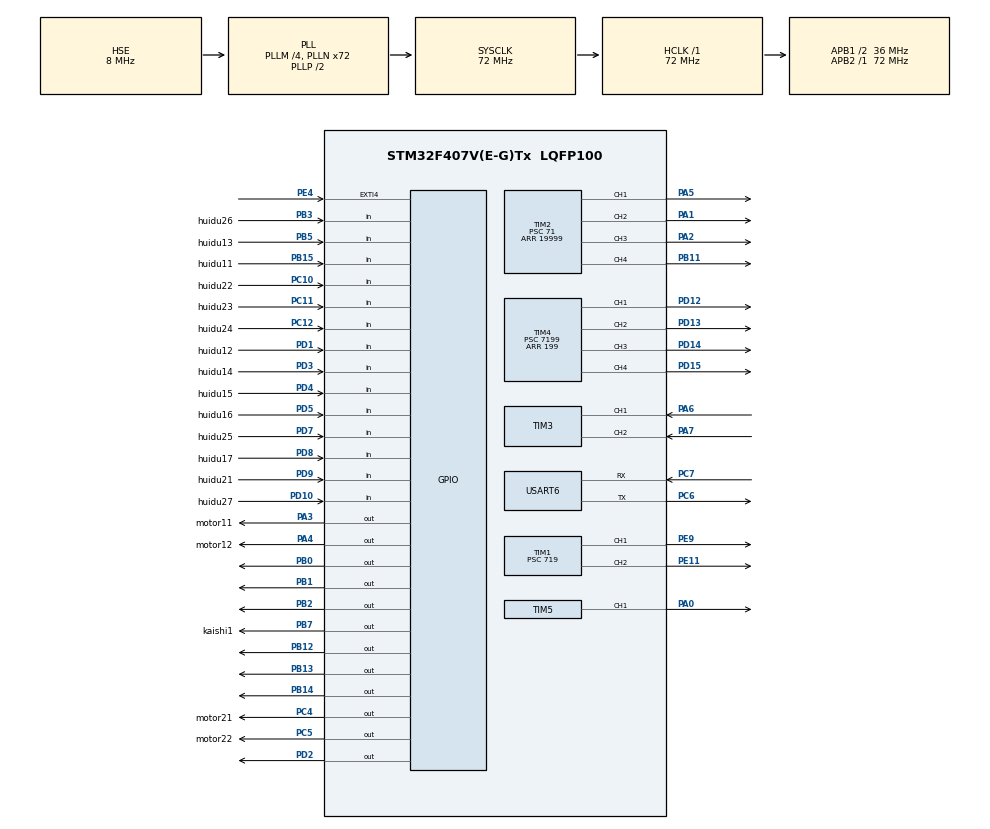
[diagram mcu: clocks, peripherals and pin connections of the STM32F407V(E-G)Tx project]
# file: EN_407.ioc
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Dma.Request0=USART6_RX
Dma.Request1=USART6_TX
Dma.USART6_RX.0.Direction=DMA_PERIPH_TO_MEMORY
Dma.USART6_RX.0.FIFOMode=DMA_FIFOMODE_DISABLE
Dma.USART6_RX.0.Instance=DMA2_Stream1
Dma.USART6_RX.0.MemDataAlignment=DMA_MDATAALIGN_BYTE
Dma.USART6_RX.0.MemInc=DMA_MINC_ENABLE
Dma.USART6_RX.0.Mode=DMA_CIRCULAR
Dma.USART6_RX.0.PeriphDataAlignment=DMA_PDATAALIGN_BYTE
Dma.USART6_RX.0.PeriphInc=DMA_PINC_DISABLE
Dma.USART6_RX.0.Priority=DMA_PRIORITY_MEDIUM
Dma.USART6_TX.1.Direction=DMA_MEMORY_TO_PERIPH
Dma.USART6_TX.1.FIFOMode=DMA_FIFOMODE_DISABLE
Dma.USART6_TX.1.Instance=DMA2_Stream6
Dma.USART6_TX.1.MemDataAlignment=DMA_MDATAALIGN_BYTE
Dma.USART6_TX.1.MemInc=DMA_MINC_ENABLE
Dma.USART6_TX.1.Mode=DMA_NORMAL
Dma.USART6_TX.1.PeriphDataAlignment=DMA_PDATAALIGN_BYTE
Dma.USART6_TX.1.PeriphInc=DMA_PINC_DISABLE
Dma.USART6_TX.1.Priority=DMA_PRIORITY_MEDIUM
Mcu.Family=STM32F4
Mcu.Name=STM32F407V(E-G)Tx
Mcu.Package=LQFP100
NVIC.DMA2_Stream1_IRQn=true\:0\:0\:false\:false\:true\:false\:true\:true
NVIC.DMA2_Stream6_IRQn=true\:0\:0\:false\:false\:true\:false\:true\:true
NVIC.PriorityGroup=NVIC_PRIORITYGROUP_4
NVIC.TIM3_IRQn=true\:0\:0\:false\:false\:true\:true\:true\:true
NVIC.TIM4_IRQn=true\:0\:0\:false\:false\:true\:true\:true\:true
NVIC.TIM5_IRQn=true\:0\:0\:false\:false\:true\:true\:true\:true
NVIC.TIM6_DAC_IRQn=true\:1\:0\:true\:false\:true\:true\:true\:true
NVIC.USART6_IRQn=true\:2\:0\:true\:false\:true\:true\:true\:true
PA0-WKUP.GPIO_Speed=GPIO_SPEED_FREQ_HIGH
PA0-WKUP.Signal=S_TIM5_CH1
PA1.GPIO_Speed=GPIO_SPEED_FREQ_HIGH
PA1.Signal=S_TIM2_CH2
PA13.Mode=Serial_Wire
PA13.Signal=SYS_JTMS-SWDIO
PA14.Mode=Serial_Wire
PA14.Signal=SYS_JTCK-SWCLK
PA2.Signal=S_TIM2_CH3
PA3.GPIO_Label=motor11
PA3.GPIO_PuPd=GPIO_PULLDOWN
PA3.GPIO_Speed=GPIO_SPEED_FREQ_HIGH
PA3.Signal=GPIO_Output
PA4.GPIO_Label=motor12
PA4.GPIO_PuPd=GPIO_PULLDOWN
PA4.GPIO_Speed=GPIO_SPEED_FREQ_HIGH
PA4.Signal=GPIO_Output
PA5.Signal=S_TIM2_CH1_ETR
PA6.Signal=S_TIM3_CH1
PA7.Signal=S_TIM3_CH2
PB0.GPIO_ModeDefaultOutputPP=GPIO_MODE_OUTPUT_PP
PB0.GPIO_PuPd=GPIO_PULLDOWN
PB0.GPIO_Speed=GPIO_SPEED_FREQ_HIGH
PB0.Signal=GPIO_Output
PB1.GPIO_PuPd=GPIO_PULLDOWN
PB1.GPIO_Speed=GPIO_SPEED_FREQ_HIGH
PB1.Signal=GPIO_Output
PB11.Signal=S_TIM2_CH4
PB12.Signal=GPIO_Output
PB13.Signal=GPIO_Output
PB14.Signal=GPIO_Output
PB15.GPIO_Label=huidu11
PB15.Signal=GPIO_Input
PB2.GPIO_ModeDefaultOutputPP=GPIO_MODE_OUTPUT_PP
PB2.GPIO_PuPd=GPIO_PULLDOWN
PB2.GPIO_Speed=GPIO_SPEED_FREQ_HIGH
PB2.Signal=GPIO_Output
PB3.GPIO_Label=huidu26
PB3.Signal=GPIO_Input
PB5.GPIO_Label=huidu13
PB5.Signal=GPIO_Input
PB7.GPIO_Label=kaishi1
PB7.Signal=GPIO_Output
PC10.GPIO_Label=huidu22
PC10.Signal=GPIO_Input
PC11.GPIO_Label=huidu23
PC11.Signal=GPIO_Input
PC12.GPIO_Label=huidu24
PC12.Signal=GPIO_Input
PC4.GPIO_Label=motor21
PC4.GPIO_PuPd=GPIO_PULLDOWN
PC4.GPIO_Speed=GPIO_SPEED_FREQ_HIGH
PC4.Signal=GPIO_Output
PC5.GPIO_Label=motor22
PC5.GPIO_PuPd=GPIO_PULLDOWN
PC5.GPIO_Speed=GPIO_SPEED_FREQ_HIGH
PC5.Signal=GPIO_Output
PC6.Mode=Asynchronous
PC6.Signal=USART6_TX
PC7.Mode=Asynchronous
PC7.Signal=USART6_RX
PD1.GPIO_Label=huidu12
PD1.Signal=GPIO_Input
PD10.GPIO_Label=huidu27
PD10.Signal=GPIO_Input
PD12.Signal=S_TIM4_CH1
PD13.Signal=S_TIM4_CH2
PD14.Signal=S_TIM4_CH3
PD15.Signal=S_TIM4_CH4
PD2.Signal=GPIO_Output
PD3.GPIO_Label=huidu14
PD3.Signal=GPIO_Input
PD4.GPIO_Label=huidu15
PD4.Signal=GPIO_Input
PD5.GPIO_Label=huidu16
PD5.Signal=GPIO_Input
PD7.GPIO_Label=huidu25
PD7.Signal=GPIO_Input
PD8.GPIO_Label=huidu17
PD8.Signal=GPIO_Input
PD9.GPIO_Label=huidu21
PD9.Signal=GPIO_Input
PE11.Signal=S_TIM1_CH2
PE4.GPIO_ModeDefaultEXTI=GPIO_MODE_IT_FALLING
PE4.GPIO_PuPd=GPIO_PULLUP
PE4.Signal=GPXTI4
PE9.Signal=S_TIM1_CH1
PH0-OSC_IN.Mode=HSE-External-Oscillator
PH0-OSC_IN.Signal=RCC_OSC_IN
PH1-OSC_OUT.Mode=HSE-External-Oscillator
PH1-OSC_OUT.Signal=RCC_OSC_OUT
ProjectManager.HeapSize=0x200
ProjectManager.StackSize=0x400
ProjectManager.TargetToolchain=MDK-ARM V5
RCC.48MHZClocksFreq_Value=36000000
RCC.AHBFreq_Value=72000000
RCC.APB1CLKDivider=RCC_HCLK_DIV2
RCC.APB1Freq_Value=36000000
RCC.APB1TimFreq_Value=72000000
RCC.APB2Freq_Value=72000000
RCC.APB2TimFreq_Value=72000000
RCC.CortexFreq_Value=72000000
RCC.HCLKFreq_Value=72000000
RCC.HSE_VALUE=8000000
RCC.HSI_VALUE=16000000
RCC.LSE_VALUE=32768
RCC.PLLM=4
RCC.PLLN=72
RCC.PLLSourceVirtual=RCC_PLLSOURCE_HSE
RCC.SYSCLKFreq_VALUE=72000000
RCC.SYSCLKSource=RCC_SYSCLKSOURCE_PLLCLK
RCC.VCOOutputFreq_Value=144000000
SH.S_TIM1_CH1.0=TIM1_CH1,PWM Generation1 CH1
SH.S_TIM1_CH2.0=TIM1_CH2,PWM Generation2 CH2
SH.S_TIM2_CH1_ETR.0=TIM2_CH1,PWM Generation1 CH1
SH.S_TIM2_CH2.0=TIM2_CH2,PWM Generation2 CH2
SH.S_TIM2_CH3.0=TIM2_CH3,PWM Generation3 CH3
SH.S_TIM2_CH4.0=TIM2_CH4,Output Compare4 CH4
SH.S_TIM3_CH1.0=TIM3_CH1,Encoder_Interface
SH.S_TIM3_CH2.0=TIM3_CH2,Encoder_Interface
SH.S_TIM4_CH1.0=TIM4_CH1,PWM Generation1 CH1
SH.S_TIM4_CH2.0=TIM4_CH2,PWM Generation2 CH2
SH.S_TIM4_CH3.0=TIM4_CH3,PWM Generation3 CH3
SH.S_TIM4_CH4.0=TIM4_CH4,PWM Generation4 CH4
SH.S_TIM5_CH1.0=TIM5_CH1,PWM Generation1 CH1
TIM1.Channel-PWM\ Generation1\ CH1=TIM_CHANNEL_1
TIM1.Channel-PWM\ Generation2\ CH2=TIM_CHANNEL_2
TIM1.Period=99
TIM1.Prescaler=719
TIM2.Channel-Output\ Compare4\ CH4=TIM_CHANNEL_4
TIM2.Channel-PWM\ Generation1\ CH1=TIM_CHANNEL_1
TIM2.Channel-PWM\ Generation2\ CH2=TIM_CHANNEL_2
TIM2.Channel-PWM\ Generation3\ CH3=TIM_CHANNEL_3
TIM2.Period=19999
TIM2.Prescaler=71
TIM4.AutoReloadPreload=TIM_AUTORELOAD_PRELOAD_ENABLE
TIM4.Channel-PWM\ Generation1\ CH1=TIM_CHANNEL_1
TIM4.Channel-PWM\ Generation2\ CH2=TIM_CHANNEL_2
TIM4.Channel-PWM\ Generation3\ CH3=TIM_CHANNEL_3
TIM4.Channel-PWM\ Generation4\ CH4=TIM_CHANNEL_4
TIM4.Period=199
TIM4.Prescaler=7199
TIM5.AutoReloadPreload=TIM_AUTORELOAD_PRELOAD_ENABLE
TIM5.Channel-PWM\ Generation1\ CH1=TIM_CHANNEL_1
TIM5.Period=199
TIM5.Prescaler=7199
TIM6.Period=99
TIM6.Prescaler=7199
USART6.VirtualMode=VM_ASYNC
VP_TIM1_VS_ClockSourceINT.Mode=Internal
VP_TIM2_VS_ClockSourceINT.Mode=Internal
VP_TIM4_VS_ClockSourceINT.Mode=Internal
VP_TIM5_VS_ClockSourceINT.Mode=Internal
VP_TIM6_VS_ClockSourceINT.Mode=Enable_Timer
board=custom

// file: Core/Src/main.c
/* USER CODE BEGIN Header */
/**
  ******************************************************************************
  * @file           : main.c
  * @brief          : Main program body
  ******************************************************************************
  * @attention
  *
  * Copyright (c) 2023 STMicroelectronics.
  * All rights reserved.
  *
  * This software is licensed under terms that can be found in the LICENSE file
  * in the root directory of this software component.
  * If no LICENSE file comes with this software, it is provided AS-IS.
  *
  ******************************************************************************
  */
/* USER CODE END Header */
#include "main.h"
#include "dma.h"
#include "tim.h"
#include "usart.h"
#include "gpio.h"
#include "pid.h"

void SystemClock_Config(void);
/* USER CODE BEGIN PFP */
float R=0,G=0,B=0;
pid_type_def motor[2];
const static fp32 motor_speed_pid[3] = {MOTOR_SPEED_PID_KP, MOTOR_SPEED_PID_KI, MOTOR_SPEED_PID_KD};
const static fp32 motor_angle_pid[3] = {MOTOR_ANGLE_PID_KP,MOTOR_ANGLE_PID_KI, MOTOR_ANGLE_PID_KD};
/* USER CODE END PFP */

int main(void)
{

  /* MCU Configuration--------------------------------------------------------*/

  /* Reset of all peripherals, Initializes the Flash interface and the Systick. */
  HAL_Init();

  /* Configure the system clock */
  SystemClock_Config();

  /* Initialize all configured peripherals */
  MX_GPIO_Init();
  MX_DMA_Init();
  MX_USART6_UART_Init();
  MX_TIM1_Init();
  MX_TIM3_Init();
  MX_TIM4_Init();
  MX_TIM5_Init();
  MX_TIM6_Init();
  MX_TIM2_Init();
  /* USER CODE BEGIN 2 */
	//两个电机初始化pid
PID_init(&motor[0],PID_POSITION,motor_speed_pid,1000, 1000);
PID_init(&motor[1],PID_POSITION,motor_speed_pid,1000, 1000);

HAL_TIM_PWM_Start(&htim1,TIM_CHANNEL_1);
HAL_TIM_PWM_Start(&htim1,TIM_CHANNEL_2);
HAL_TIM_PWM_Start(&htim2,TIM_CHANNEL_1);
HAL_TIM_PWM_Start(&htim2,TIM_CHANNEL_2);
HAL_TIM_PWM_Start(&htim2,TIM_CHANNEL_3);
HAL_TIM_PWM_Start(&htim2,TIM_CHANNEL_4);
HAL_TIM_PWM_Start(&htim3,TIM_CHANNEL_1);
		TIM1->CCR1=30;
     TIM1->CCR2=20;

  /* USER CODE END 2 */

  /* Infinite loop */
  /* USER CODE BEGIN WHILE */
		while (1)
  {
		whitebalance();
		R = tcs2300_RED();
		G = tcs2300_GREEN();
		B = tcs2300_BLUE();
    /* USER CODE END WHILE */

    /* USER CODE BEGIN 3 */
	/*HAL_TIM_SetCompare(&htim2,TIM_CHANNEL_3,1200);
		HAL_Delay(50);
	  Tracking();
	car_go_ahead();
	__HAL_TIM_SetCompare(&htim2,TIM_CHANNEL_1,800);
	  HAL_Delay(1000);
	__HAL_TIM_SetCompare(&htim2,TIM_CHANNEL_3,450);
   HAL_Delay(1000);
		car_go_after();
	  HAL_Delay(250);
		Tracking2();
		car_go_after();
    HAL_Delay(300);
		car_go_ahead();
	  HAL_Delay(1000);
		car_go_left();
		HAL_Delay(500);
		Tracking();
		car_go_after();
	  HAL_Delay(250);
		Tracking2();
		car_go_after();
    HAL_Delay(300);
		car_go_ahead();
	  HAL_Delay(1000);
		car_go_left();
		HAL_Delay(500);
		car_go_ahead();
	  HAL_Delay(10000);*/
	}
  /* USER CODE END 3 */
}

void SystemClock_Config(void)
{
  RCC_OscInitTypeDef RCC_OscInitStruct = {0};
  RCC_ClkInitTypeDef RCC_ClkInitStruct = {0};

  /** Configure the main internal regulator output voltage
  */
  __HAL_RCC_PWR_CLK_ENABLE();
  __HAL_PWR_VOLTAGESCALING_CONFIG(PWR_REGULATOR_VOLTAGE_SCALE1);

  /** Initializes the RCC Oscillators according to the specified parameters
  * in the RCC_OscInitTypeDef structure.
  */
  RCC_OscInitStruct.OscillatorType = RCC_OSCILLATORTYPE_HSE;
  RCC_OscInitStruct.HSEState = RCC_HSE_ON;
  RCC_OscInitStruct.PLL.PLLState = RCC_PLL_ON;
  RCC_OscInitStruct.PLL.PLLSource = RCC_PLLSOURCE_HSE;
  RCC_OscInitStruct.PLL.PLLM = 4;
  RCC_OscInitStruct.PLL.PLLN = 72;
  RCC_OscInitStruct.PLL.PLLP = RCC_PLLP_DIV2;
  RCC_OscInitStruct.PLL.PLLQ = 4;
  if (HAL_RCC_OscConfig(&RCC_OscInitStruct) != HAL_OK)
  {
    Error_Handler();
  }

  /** Initializes the CPU, AHB and APB buses clocks
  */
  RCC_ClkInitStruct.ClockType = RCC_CLOCKTYPE_HCLK|RCC_CLOCKTYPE_SYSCLK
                              |RCC_CLOCKTYPE_PCLK1|RCC_CLOCKTYPE_PCLK2;
  RCC_ClkInitStruct.SYSCLKSource = RCC_SYSCLKSOURCE_PLLCLK;
  RCC_ClkInitStruct.AHBCLKDivider = RCC_SYSCLK_DIV1;
  RCC_ClkInitStruct.APB1CLKDivider = RCC_HCLK_DIV2;
  RCC_ClkInitStruct.APB2CLKDivider = RCC_HCLK_DIV1;

  if (HAL_RCC_ClockConfig(&RCC_ClkInitStruct, FLASH_LATENCY_2) != HAL_OK)
  {
    Error_Handler();
  }
}

void Error_Handler(void)
{
  __disable_irq();
  while (1)
  {
  }
}
